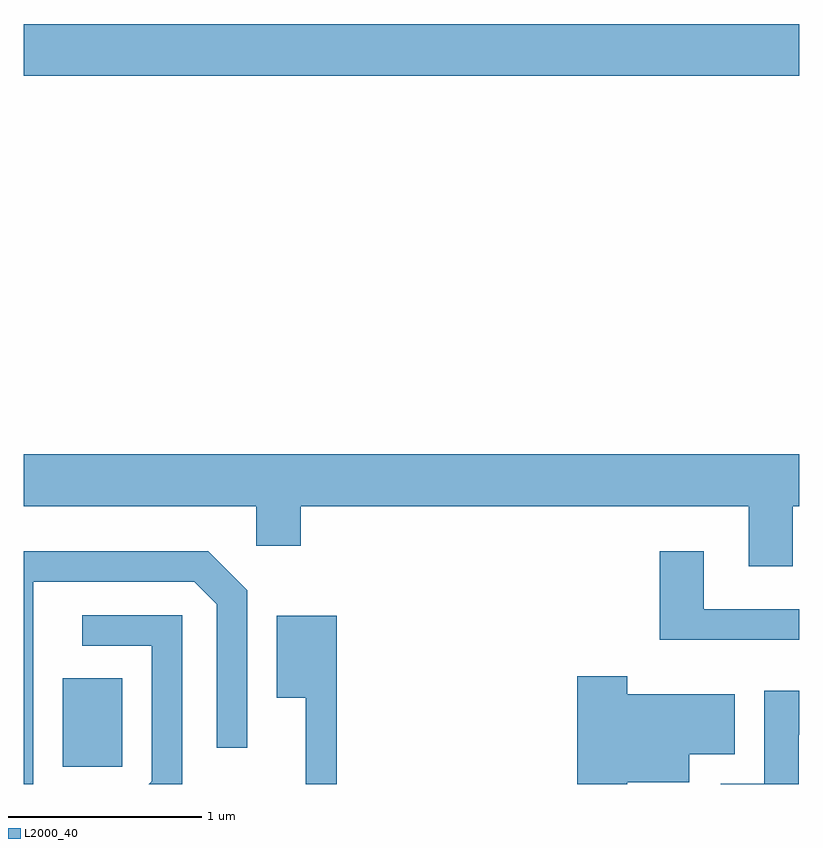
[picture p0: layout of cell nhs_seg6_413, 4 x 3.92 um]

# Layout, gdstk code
import gdstk
lib = gdstk.Library(unit=1e-6, precision=1e-09)
def R(c, l, rs):  # rectangles x0, y0, x1, y1
    for r in rs: c.add(gdstk.rectangle(r[:2], r[2:], *l))
def P(c, l, *ps):  # polygons
    for p in ps: c.add(gdstk.Polygon(p, *l))
L2000_40 = (2000, 40)

nhs_seg6_413 = lib.new_cell('nhs_seg6_413')
R(nhs_seg6_413, L2000_40, [(197.811,1544.251,198.119,1544.709), (197.611,1547.816,201.611,1548.084)])
P(nhs_seg6_413, L2000_40, [(201.579,1545.596),(201.611,1545.596),(201.611,1545.864),(197.611,1545.864),(197.611,1545.596),(198.811,1545.596),(198.811,1545.391),(199.039,1545.391),(199.039,1545.596),(201.351,1545.596),(201.351,1545.286),(201.579,1545.286)],
  [(201.611,1545.064),(201.119,1545.064),(201.119,1545.364),(200.891,1545.364),(200.891,1544.906),(201.611,1544.906)],
  [(197.659,1545.206),(198.489,1545.206),(198.606,1545.089),(198.606,1544.348),(198.764,1544.348),(198.764,1545.162),(198.562,1545.364),(197.611,1545.364),(197.611,1544.162),(197.659,1544.162)],
  [(198.429,1545.034),(197.913,1545.034),(197.913,1544.876),(198.271,1544.876),(198.271,1544.177),(198.256,1544.162),(198.429,1544.162)],
  [(199.224,1545.029),(198.916,1545.029),(198.916,1544.606),(199.066,1544.606),(199.066,1544.162),(199.224,1544.162)],
  [(200.724,1544.171),(201.044,1544.171),(201.044,1544.316),(201.279,1544.316),(201.279,1544.624),(200.724,1544.624),(200.724,1544.719),(200.466,1544.719),(200.466,1544.162),(200.724,1544.162)],
  [(201.609,1544.416),(201.611,1544.416),(201.611,1544.644),(201.431,1544.644),(201.431,1544.164),(201.206,1544.164),(201.206,1544.162),(201.609,1544.162)])

lib.write_gds('nhs_seg6_413.gds')
